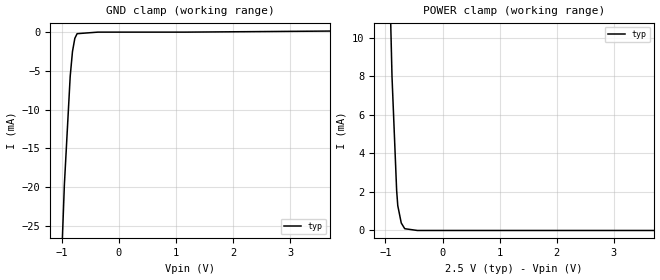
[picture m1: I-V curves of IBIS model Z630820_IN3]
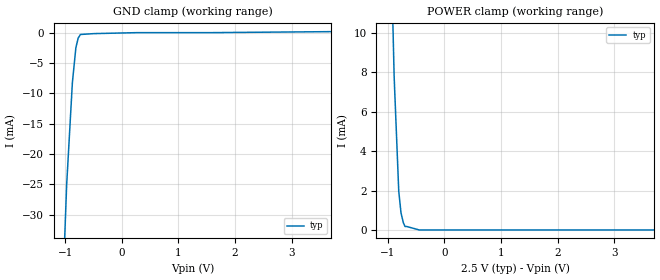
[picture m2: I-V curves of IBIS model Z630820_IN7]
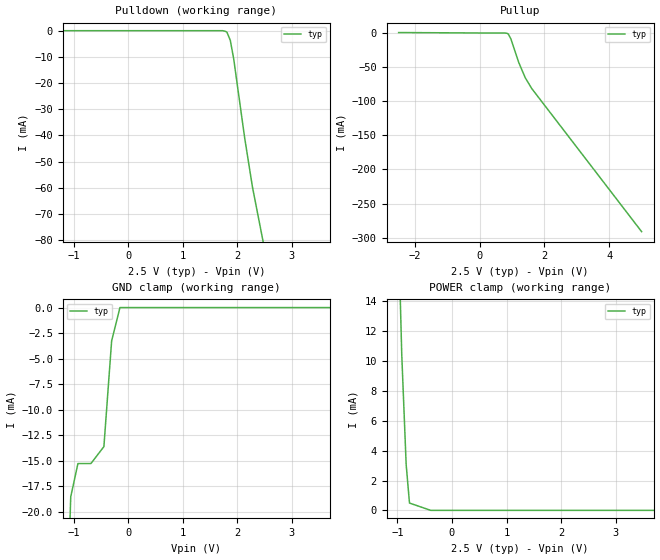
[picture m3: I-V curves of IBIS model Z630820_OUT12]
[IBIS Ver] 3.1
[File Name] mc100lvep14dt_25.ibs
[File Rev] 2.0
[Source] Derived from mc10ep57dt_33.ibs & mc100lvep210fa_25.ibs
|   Measured and created by ICX Technology
[Date] Monday 11/14/2002
[Copyright]
| (C) COPYRIGHT 1993-2000
| MENTOR GRAPHICS CORPORATION
| ICX STANDARD LIBRARY, ICX PROJECT MODELING,
| ICX CUSTOM MODELING, ICX VENDOR MODEL
| ALL RIGHTS RESERVED.
| THE FOLLOWING ARE TRADEMARKS OR SERVICE MARKS OF
| MENTOR GRAPHICS CORPORATION:ICX (R), ICX STANDARD
| LIBRARY(R), ICX PROJECT MODELING(R), ICX CUSTOM
| MODELING(R), qualityIBIS(TM), MODELVIEWER(TM),
| AND MODELEDITOR(TM)
| ALL COPIES OF SOFTWARE, INCLUDING BUT NOT LIMITED TO
| ANY MODIFICATIONS, ENHANCEMENTS OR DERIVATIVE WORKS,
| MUST CONTAIN ALL MENTOR GRAPHICS CORPORATION'S
| NOTICES AND LEGENDS, INCLUDING THOSE EMBEDDED IN
| SOFTWARE AND THOSE AFFIXED TO SOFTWARE MEDIUM
| AND CONTAINER, AS RECEIVED FROM MENTOR GRAPHICS
| CORPORATION.
|  ZAP Model Builder 2.8
[Component] mc100lvep14dt_25
[Manufacturer] ON
[Package]
| variable   typ   min   max
R_pkg  .18ohms NA NA
L_pkg  4.22nH NA NA
C_pkg  .41pF NA NA
[Pin] signal_name  model_name  R_pin  L_pin C_pin
1 Q0 Z630820_OUT13 .068 4.288n 1.027p
2 _Q0 Z630820_OUT12 .066 4.127n .978p
3 Q1 Z630820_OUT13 .068 4.288n 1.027p
4 _Q1 Z630820_OUT12 .066 4.127n .978p
5 Q2 Z630820_OUT13 .068 4.288n 1.027p
6 _Q2 Z630820_OUT12 .066 4.127n .978p
7 Q3 Z630820_OUT13 .068 4.288n 1.027p
8 _Q3 Z630820_OUT12 .066 4.127n .978p
9 Q4 Z630820_OUT13 .068 4.288n 1.027p
10 _Q4 Z630820_OUT12 .066 4.127n .978p
11 VEE POWER .194 5.16n .43p
12 CLK_SEL Z630820_IN3 .068 4.288n 1.027p
13 CLK0 Z630820_IN3 .068 4.288n 1.027p
14 _CLK0 Z630820_IN7 .069 4.455n 1.077p
15 VBB POWER .069 4.455n 1.077p
16 CLK1 Z630820_IN3 .068 4.288n 1.027p
17 _CLK1 Z630820_IN7 .069 4.455n 1.077p
18 VCC POWER .194 5.16n .43p
19 _EN Z630820_IN3 .068 4.288n 1.027p
20 VCC POWER .194 5.16n .43p
[Diff Pin] inv_pin vdiff tdelay_typ tdelay_min tdelay_max
1 2 NA NA NA NA
3 4 NA NA NA NA
5 6 NA NA NA NA
7 8 NA NA NA NA
9 10 NA NA NA NA
13 14 800mv NA NA NA
16 17 800mv NA NA NA
| Models and submodels in the file (4): Z630820_IN3 (Input_ECL), Z630820_IN7 (Input_ECL), Z630820_OUT12 (Output_ECL), Z630820_OUT13 (Output_ECL)
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| (C) COPYRIGHT 1993-2000
| MENTOR GRAPHICS CORPORATION
| ICX STANDARD LIBRARY, ICX PROJECT MODELING,
| ICX CUSTOM MODELING, ICX VENDOR MODEL
| ALL RIGHTS RESERVED.
| THE FOLLOWING ARE TRADEMARKS OR SERVICE MARKS OF
| MENTOR GRAPHICS CORPORATION:ICX (R), ICX STANDARD
| LIBRARY(R), ICX PROJECT MODELING(R), ICX CUSTOM
| MODELING(R), qualityIBIS(TM), MODELVIEWER(TM),
| AND MODELEDITOR(TM)
| ALL COPIES OF SOFTWARE, INCLUDING BUT NOT LIMITED TO
| ANY MODIFICATIONS, ENHANCEMENTS OR DERIVATIVE WORKS,
| MUST CONTAIN ALL MENTOR GRAPHICS CORPORATION'S
| NOTICES AND LEGENDS, INCLUDING THOSE EMBEDDED IN
| SOFTWARE AND THOSE AFFIXED TO SOFTWARE MEDIUM
| AND CONTAINER, AS RECEIVED FROM MENTOR GRAPHICS
| CORPORATION.
| Model Application Version 1.89 2/18/99.
[Model] Z630820_IN3
Model_type Input_ECL
Vinl = 875.0mV
Vinh = 1.335V
C_comp 1.000pF NA NA
| variable typ   min   max
[Voltage Range] 2.500V NA NA
[GND Clamp Reference] 0.000V NA NA
[POWER Clamp Reference] 2.500V NA NA
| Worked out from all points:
|   GND clamp passes 1 mA (typ) near -0.77 V on its own axis
|   POWER clamp passes 1 mA (typ) near -0.76 V on its own axis
[GND Clamp]
-2.5V     -407.5mA   NA         NA
-1.054V   -39.8mA    NA         NA
-953mV    -19.7mA    NA         NA
-851mV    -5.7mA     NA         NA
-811mV    -2.5mA     NA         NA
-770mV    -800uA     NA         NA
-730mV    -200uA     NA         NA
-365mV    0A         NA         NA
1.175V    0A         NA         NA
5V        207.3uA    NA         NA
[POWER Clamp]
-2.5V     256.5mA    NA         NA
-1.007V   22.97mA    NA         NA
-885mV    7.98mA     NA         NA
-804mV    2.085mA    NA         NA
-784mV    1.286mA    NA         NA
-723mV    389uA      NA         NA
-662mV    92.3uA     NA         NA
-441.3mV  0A         NA         NA
5V        0A         NA         NA
| (C) COPYRIGHT 1993-2000
| MENTOR GRAPHICS CORPORATION
| ICX STANDARD LIBRARY, ICX PROJECT MODELING,
| ICX CUSTOM MODELING, ICX VENDOR MODEL
| ALL RIGHTS RESERVED.
| THE FOLLOWING ARE TRADEMARKS OR SERVICE MARKS OF
| MENTOR GRAPHICS CORPORATION:ICX (R), ICX STANDARD
| LIBRARY(R), ICX PROJECT MODELING(R), ICX CUSTOM
| MODELING(R), qualityIBIS(TM), MODELVIEWER(TM),
| AND MODELEDITOR(TM)
| ALL COPIES OF SOFTWARE, INCLUDING BUT NOT LIMITED TO
| ANY MODIFICATIONS, ENHANCEMENTS OR DERIVATIVE WORKS,
| MUST CONTAIN ALL MENTOR GRAPHICS CORPORATION'S
| NOTICES AND LEGENDS, INCLUDING THOSE EMBEDDED IN
| SOFTWARE AND THOSE AFFIXED TO SOFTWARE MEDIUM
| AND CONTAINER, AS RECEIVED FROM MENTOR GRAPHICS
| CORPORATION.
| Model Application Version 1.89 2/18/99.
[Model] Z630820_IN7
Model_type Input_ECL
Vinl = 875.0mV
Vinh = 1.335V
C_comp 1.000pF NA NA
| variable typ   min   max
[Voltage Range] 2.500V NA NA
[GND Clamp Reference] 0.000V NA NA
[POWER Clamp Reference] 2.500V NA NA
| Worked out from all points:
|   GND clamp passes 1 mA (typ) near -0.77 V on its own axis
|   POWER clamp passes 1 mA (typ) near -0.77 V on its own axis
[GND Clamp]
-2.5V     -501.4mA   NA         NA
-1.095V   -55.5mA    NA         NA
-973mV    -25mA      NA         NA
-872mV    -8.2mA     NA         NA
-811mV    -2.5mA     NA         NA
-770mV    -900uA     NA         NA
-730mV    -300uA     NA         NA
-486.7mV  -157.5uA   NA         NA
263mV     0A         NA         NA
1.551V    0A         NA         NA
5V        267.9uA    NA         NA
[POWER Clamp]
-2.5V     248.5mA    NA         NA
-1.007V   22.45mA    NA         NA
-885mV    7.758mA    NA         NA
-804mV    1.964mA    NA         NA
-764mV    866.9uA    NA         NA
-723mV    370.1uA    NA         NA
-692.5mV  174.8uA    NA         NA
-662mV    174.8uA    NA         NA
-441.3mV  0A         NA         NA
5V        0A         NA         NA
| (C) COPYRIGHT 1993-2000
| MENTOR GRAPHICS CORPORATION
| ICX STANDARD LIBRARY, ICX PROJECT MODELING,
| ICX CUSTOM MODELING, ICX VENDOR MODEL
| ALL RIGHTS RESERVED.
| THE FOLLOWING ARE TRADEMARKS OR SERVICE MARKS OF
| MENTOR GRAPHICS CORPORATION:ICX (R), ICX STANDARD
| LIBRARY(R), ICX PROJECT MODELING(R), ICX CUSTOM
| MODELING(R), qualityIBIS(TM), MODELVIEWER(TM),
| AND MODELEDITOR(TM)
| ALL COPIES OF SOFTWARE, INCLUDING BUT NOT LIMITED TO
| ANY MODIFICATIONS, ENHANCEMENTS OR DERIVATIVE WORKS,
| MUST CONTAIN ALL MENTOR GRAPHICS CORPORATION'S
| NOTICES AND LEGENDS, INCLUDING THOSE EMBEDDED IN
| SOFTWARE AND THOSE AFFIXED TO SOFTWARE MEDIUM
| AND CONTAINER, AS RECEIVED FROM MENTOR GRAPHICS
| CORPORATION.
| Model Application Version 1.89 2/18/99.
[Model] Z630820_OUT12
Model_type Output_ECL
Vref=500.0mV
Rref=50.00ohms
Cref=0.000F
Vmeas=1.100V
C_comp 1.000pF NA NA
| variable typ   min   max
[Voltage Range] 2.500V NA NA
[POWER Clamp Reference] 2.500V NA NA
[Pullup Reference] 2.500V NA NA
[Pulldown Reference] 2.500V NA NA
[GND Clamp Reference] 0.000V NA NA
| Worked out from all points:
|   GND clamp passes 1 mA (typ) near -0.20 V on its own axis
|   POWER clamp passes 1 mA (typ) near -0.79 V on its own axis
[GND Clamp]
-2.5V     -263.2mA   NA         NA
-1.054V   -18.51mA   NA         NA
-922.3mV  -15.26mA   NA         NA
-684.1mV  -15.26mA   NA         NA
-446mV    -13.6mA    NA         NA
-304mV    -3.255mA   NA         NA
-152mV    0A         NA         NA
5V        0A         NA         NA
[Pulldown]
-2.5V     0A         NA         NA
1.73V     0A         NA         NA
1.79V     -300uA     NA         NA
1.811V    -600uA     NA         NA
1.872V    -3.7mA     NA         NA
1.933V    -10.6mA    NA         NA
2.135V    -40.9mA    NA         NA
2.277V    -59.6mA    NA         NA
5V        -350.2mA   NA         NA
[Pullup]
-2.5V     663.7uA    NA         NA
22mV      0A         NA         NA
782mV     0A         NA         NA
843mV     -400uA     NA         NA
884mV     -1.5mA     NA         NA
965mV     -8.7mA     NA         NA
1.208V    -43.3mA    NA         NA
1.41V     -65.8mA    NA         NA
1.613V    -81.7mA    NA         NA
5V        -291.1mA   NA         NA
[POWER Clamp]
-2.5V     228.7mA    NA         NA
-921mV    10.45mA    NA         NA
-840mV    3.073mA    NA         NA
-779mV    489.2uA    NA         NA
-389.5mV  0A         NA         NA
5V        0A         NA         NA
[Ramp]
| variable typ min max
dV/dt_r 478.6m/141.2p NA NA
dV/dt_f 478.6m/147.5p NA NA
R_load = 50.00Ohms
